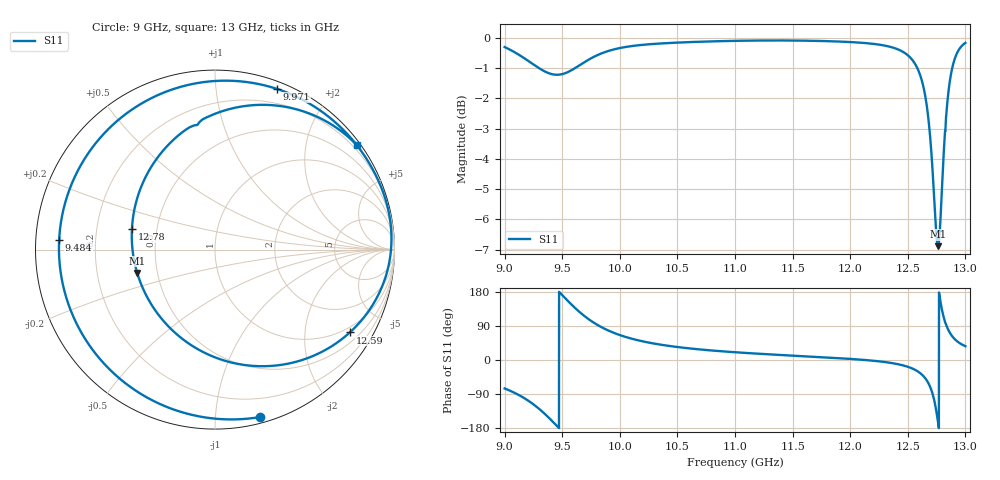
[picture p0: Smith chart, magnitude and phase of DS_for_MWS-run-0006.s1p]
! TOUCHSTONE file generated by CST DESIGN STUDIO
! Date and time: Tue Feb  4 14:17:30 2025
! Project name: C:\Work\MatlabApps\UnitCellOptimizationMatlab\CST\unitcell.cst
! Tree item: Tasks\Sweep1\SPara1\S-Parameters
! Header version: 2024
! Port assignment regex: !\s*Touchstone port\s*([0-9]+)\s*=\s*(CST MWS port|CST DES external port|CST DES block port)\s*(.+)\s* \(\"(.*)\"\)(\s*mode\s*([0-9]+))?.*
! Touchstone port assignment:
! Touchstone port 1 = CST DES external port 1 ("")
# GHz S MA R 50
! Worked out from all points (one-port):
!   4001 points, 9 GHz to 13 GHz, reference 50 ohm
!   lowest |S11| = -6.9 dB at 12.76 GHz (marker M1), VSWR 2.65, Z = 19.2 - j6.28 ohm
!   |S11| at or under -10 dB: nowhere
!   S11 on the Smith chart (normalised r, x): 9 GHz: 0.05, -1.30; 9.484 GHz: 0.07, +0.03; 9.971 GHz: 0.06, +1.45; 12.59 GHz: 0.81, -3.35; 12.78 GHz: 0.36, +0.11; 13 GHz: 0.10, +3.04
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9  0.9658 -75.1
9.147  0.932 -96.4
9.261  0.9011 -119.5
9.388  0.8737 -153.6
9.484  0.8701 176.4
9.5  0.8713 171.3
9.61  0.8911 137.7
9.709  0.9158 112.3
9.82  0.9392 90.1
9.971  0.9595 69.0
10  0.9622 65.8
10.213  0.9746 48.3
10.5  0.9824 34.2
11  0.989 20.5
11.5  0.9901 11.5
12  0.9844 2.9
12.306  0.9707 -5.6
12.5  0.9362 -17.9
12.594  0.8815 -31.6
12.654  0.7965 -49.2
12.703  0.653 -77.9
12.733  0.5265 -111.1
12.762  0.4526 -163.3
12.777  0.4768 166.2
12.813  0.651 111.4
12.849  0.8024 81.2
12.914  0.9309 53.1
13  0.9815 36.4
